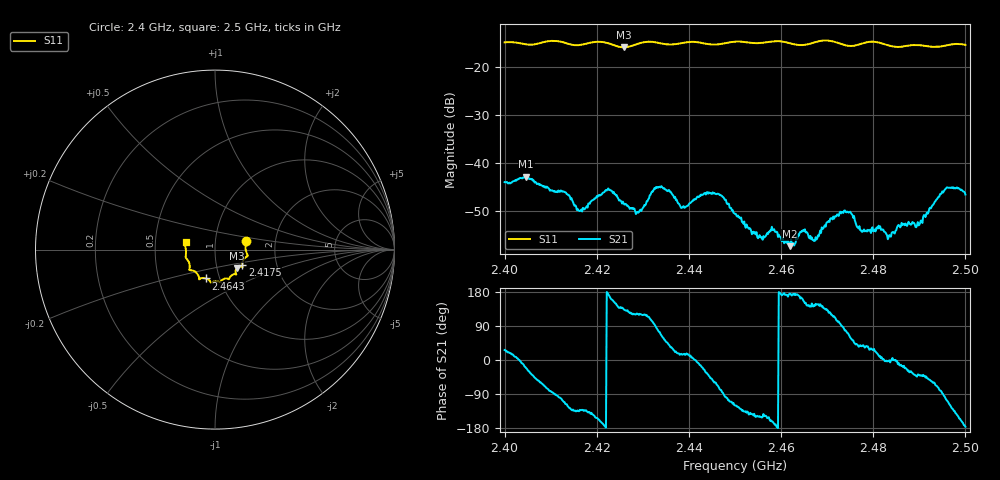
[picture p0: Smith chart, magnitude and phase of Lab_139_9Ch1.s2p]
# Hz S RI R 50
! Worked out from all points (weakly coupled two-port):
!   601 points, 2.4 GHz to 2.5 GHz, reference 50 ohm
!   highest |S21| = -42.80 dB at 2.4047 GHz (marker M1); lowest = -57.2 dB at 2.4618 GHz (marker M2)
!   lowest |S11| = -15.9 dB at 2.4258 GHz (marker M3), VSWR 1.38, Z = 62.3 - j13.2 ohm
!   |S11| at or under -10 dB: start of sweep to end of sweep
!   S12 and S22 are empty: the file has one direction only
!   S11 on the Smith chart (normalised r, x): 2.4 GHz: 1.41, +0.14; 2.4175 GHz: 1.34, -0.23; 2.4643 GHz: 0.86, -0.29; 2.5 GHz: 0.72, +0.06
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2.4e9  0.1731 0.0487  0.0057 0.00284  0 0  0 0
2.404667e9  0.1707 0.0178  0.00674 -0.00265  0 0  0 0
2.416667e9  0.1529 -0.0739  -0.00222 -0.00246  0 0  0 0
2.4175e9  0.1519 -0.0835  -0.00233 -0.00248  0 0  0 0
2.422333e9  0.15 -0.0947  -0.00533 0.000222  0 0  0 0
2.425833e9  0.1217 -0.1034  -0.00266 0.00276  0 0  0 0
2.429e9  0.1152 -0.1309  -0.00156 0.00264  0 0  0 0
2.433333e9  0.1133 -0.137  0.00116 0.00547  0 0  0 0
2.438667e9  0.0808 -0.158  0.0034 0.000864  0 0  0 0
2.446667e9  0.0427 -0.1671  0.00107 -0.00455  0 0  0 0
2.45e9  0.0289 -0.1809  -0.00148 -0.00259  0 0  0 0
2.455333e9  -0.000749 -0.1769  -0.00153 -0.000945  0 0  0 0
2.458167e9  -0.0197 -0.1829  -0.00194 -0.000611  0 0  0 0
2.461833e9  -0.0296 -0.174  -0.00137 0.000132  0 0  0 0
2.464333e9  -0.0498 -0.1609  -0.00186 0.000499  0 0  0 0
2.466667e9  -0.0758 -0.1593  -0.00146 0.000872  0 0  0 0
2.473833e9  -0.0962 -0.1382  0.00068 0.00317  0 0  0 0
2.477667e9  -0.1326 -0.1154  0.00153 0.0012  0 0  0 0
2.483333e9  -0.1408 -0.0901  0.0017 -8.89e-05  0 0  0 0
2.489667e9  -0.1631 -0.042  0.00192 -0.00152  0 0  0 0
2.496e9  -0.1666 0.0195  -0.00165 -0.00537  0 0  0 0
2.5e9  -0.164 0.0428  -0.00473 -0.000327  0 0  0 0
